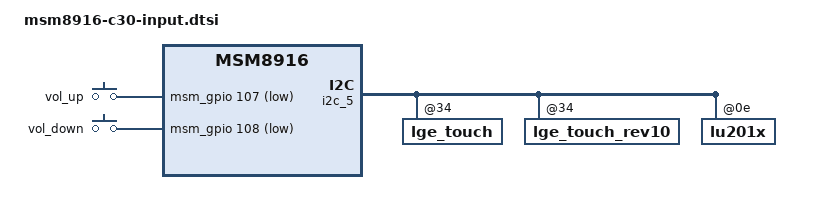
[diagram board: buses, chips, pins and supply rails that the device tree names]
/* Copyright (c) 2012, Code Aurora Forum. All rights reserved.
 *
 * This program is free software; you can redistribute it and/or modify
 * it under the terms of the GNU General Public License version 2 and
 * only version 2 as published by the Free Software Foundation.
 *
 * This program is distributed in the hope that it will be useful,
 * but WITHOUT ANY WARRANTY; without even the implied warranty of
 * MERCHANTABILITY or FITNESS FOR A PARTICULAR PURPOSE.  See the
 * GNU General Public License for more details.
 */

&i2c_5 {

	lge_touch@34 {
		revision = "rev_a...rev_c";
	};

	lge_touch_rev10@34 {
		revision = "rev_10...";
	};

	lu201x@0e {
		status = "ok";

		pinctrl-names = "pmx_ts_active","pmx_ts_suspend";		/*Touch GPIO pin name setting*/
		/*pinctrl-0 = <&ts_int_active &ts_reset_active &ts_gpio_ldo_enable_evb_active>;*/	/*Touch GPIO pin active setting*/
		/*pinctrl-1 = <&ts_int_suspend &ts_reset_suspend &ts_gpio_ldo_enable_evb_suspend>;*/	/*Touch GPIO pin suspend setting*/
		pinctrl-0 = <&ts_int_active &ts_reset_active &ts_gpio_ldo_enable_active>;/*Touch GPIO pin active setting*/
		pinctrl-1 = <&ts_int_suspend &ts_reset_suspend &ts_gpio_ldo_enable_suspend>;	/*Touch GPIO pin suspend setting*/

	};
};
&soc {
	gpio_keys {
		vol_up {
			gpios = <&msm_gpio 107 0x1>;
		};

		vol_down {
			gpios = <&msm_gpio 108 0x1>;
		};
	};
};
